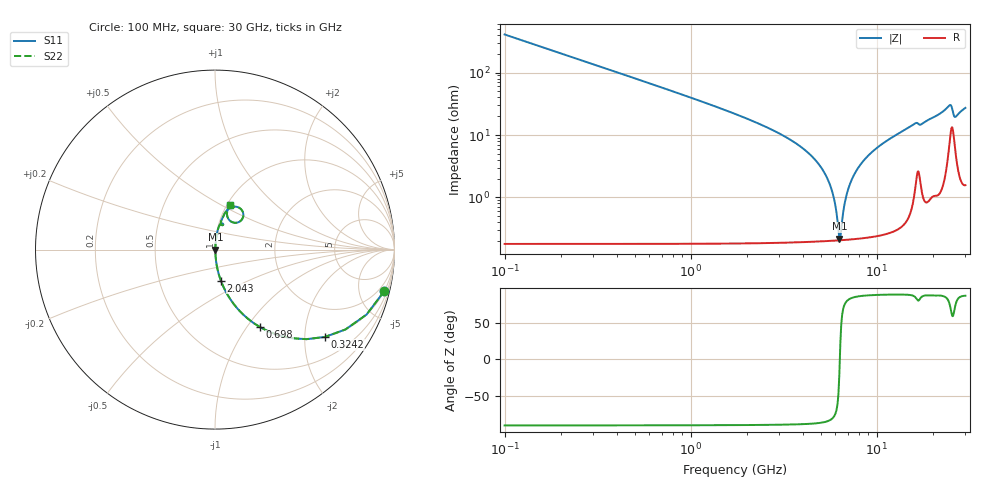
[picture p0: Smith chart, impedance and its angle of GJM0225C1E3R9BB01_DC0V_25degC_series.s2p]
!Murata Part Number: GJM0225C1E3R9BB01
!These Parameters are Measured in Series Mode Connection
!  o--ll--o
!Port1  Port2
!  o------o
!Operation Temp=25[degC], DC Bias Voltage=0[V]
!Freq. Start=100[MHz] Stop=30[GHz], 401[Steps]
!Data Generated on Feb 1, 2023
# Hz S RI R 50
!Freq.(Hz) S11(Real) S11(Imag) S21(Real) S21(Imag) S12(Real) S12(Imag) S22(Real) S22(Imag)
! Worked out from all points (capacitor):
!   401 points, 100 MHz to 30 GHz, reference 50 ohm
!   read as one part in series: C = 3.9 pF near 249.5 MHz
!   lowest |Z| = 219 mohm at 6.304 GHz (marker M1)
!   series resonance near 6.341 GHz, so ESL is about 160 pH
!   S11 on the Smith chart (normalised r, x): 100 MHz: 1.00, -8.16; 324.2 MHz: 1.00, -2.51; 698 MHz: 1.00, -1.16; 2.043 GHz: 1.00, -0.36; 30 GHz: 1.03, +0.54
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1e8  0.9432 -0.2312  0.0568 0.2312  0.0568 0.2312  0.9432 -0.2312
3.2425e8  0.6116 -0.4867  0.3884 0.4867  0.3884 0.4867  0.6116 -0.4867
4.7375e8  0.4234 -0.493  0.5766 0.493  0.5766 0.493  0.4234 -0.493
6.98e8  0.2508 -0.4319  0.7492 0.4319  0.7492 0.4319  0.2508 -0.4319
1.1465e9  0.1073 -0.3068  0.8927 0.3068  0.8927 0.3068  0.1073 -0.3068
2.0435e9  0.0327 -0.1728  0.9673 0.1728  0.9673 0.1728  0.0327 -0.1728
4.1365e9  0.00512 -0.0564  0.9949 0.0564  0.9949 0.0564  0.00512 -0.0564
5.10825e9  0.00276 -0.028  0.9972 0.028  0.9972 0.028  0.00276 -0.028
5.781e9  0.00216 -0.0119  0.9978 0.0119  0.9978 0.0119  0.00216 -0.0119
6.30425e9  0.00205 -0.000738  0.9979 0.000738  0.9979 0.000738  0.00205 -0.000738
6.45375e9  0.00207 0.00228  0.9979 -0.00228  0.9979 -0.00228  0.00207 0.00228
6.678e9  0.00212 0.00669  0.9979 -0.00669  0.9979 -0.00669  0.00212 0.00669
6.90225e9  0.00221 0.011  0.9978 -0.011  0.9978 -0.011  0.00221 0.011
7.50025e9  0.00261 0.0218  0.9974 -0.0218  0.9974 -0.0218  0.00261 0.0218
8.54675e9  0.00377 0.0392  0.9962 -0.0392  0.9962 -0.0392  0.00377 0.0392
1.01165e10  0.00637 0.0628  0.9936 -0.0628  0.9936 -0.0628  0.00637 0.0628
1.505e10  0.0227 0.1306  0.9773 -0.1306  0.9773 -0.1306  0.0227 0.1306
2.005825e10  0.0441 0.18  0.9559 -0.18  0.9559 -0.18  0.0441 0.18
2.32725e10  0.0766 0.2276  0.9234 -0.2276  0.9234 -0.2276  0.0766 0.2276
2.50665e10  0.1549 0.21  0.8451 -0.21  0.8451 -0.21  0.1549 0.21
2.62625e10  0.092 0.1547  0.908 -0.1547  0.908 -0.1547  0.092 0.1547
3e10  0.0813 0.2458  0.9187 -0.2458  0.9187 -0.2458  0.0813 0.2458
